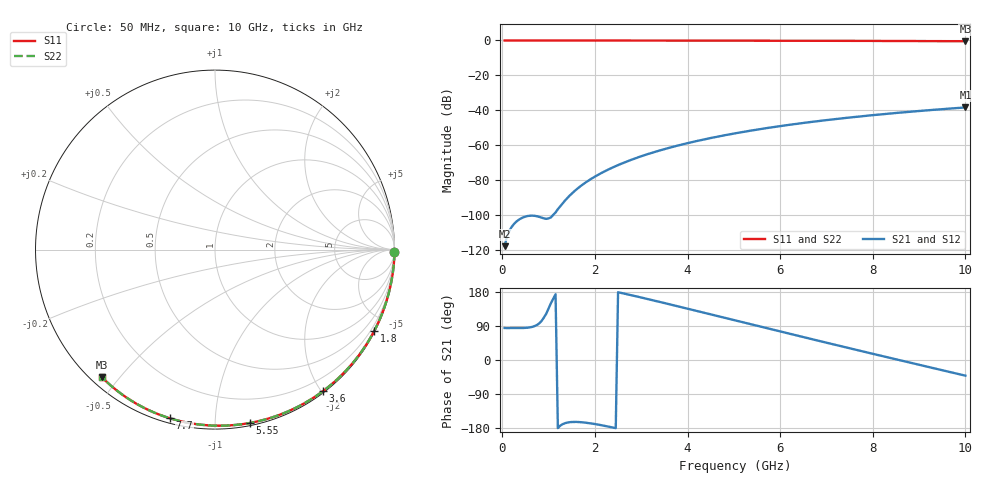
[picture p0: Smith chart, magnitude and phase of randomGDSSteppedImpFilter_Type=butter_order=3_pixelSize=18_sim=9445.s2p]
! freq	dB(S11)	phase(S11)	dB(S12)	phase(S12)
!  dB(S21)	phase(S21)	dB(S22)	phase(S22)
!S-par simulation data
#  GHz  S  DB  R 50
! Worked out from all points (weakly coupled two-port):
!   200 points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, 50 MHz to 10 GHz, reference 50 ohm
!   highest |S21| = -38.40 dB at 10 GHz (marker M1); lowest = -117.9 dB at 50 MHz (marker M2)
!   lowest |S11| = -0.4 dB at 10 GHz (marker M3), VSWR 39.04, Z = 1.54 - j22.6 ohm
!   |S11| at or under -10 dB: nowhere
!   |S22| runs from -0.4 to 0.0 dB; largest |S21 - S12| = 0
!   S11 on the Smith chart (normalised r, x): 50 MHz: open; 1.8 GHz: 0.04, -4.18; 3.6 GHz: 0.02, -2.02; 5.55 GHz: 0.02, -1.22; 7.7 GHz: 0.02, -0.77; 10 GHz: 0.03, -0.45
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0.05  -0.00 -0.8  -117.93 84.5  -117.93 84.5  -0.00 -0.8
0.9  -0.02 -13.6  -102.00 112.2  -102.00 112.2  -0.02 -13.6
1.75  -0.03 -26.2  -82.34 -164.7  -82.34 -164.7  -0.03 -26.2
1.8  -0.03 -26.9  -81.40 -165.4  -81.40 -165.4  -0.03 -26.9
1.85  -0.04 -27.7  -80.52 -166.2  -80.52 -166.2  -0.04 -27.7
1.9  -0.04 -28.4  -79.66 -167.1  -79.66 -167.1  -0.04 -28.4
2.05  -0.04 -30.6  -77.29 -170.1  -77.29 -170.1  -0.04 -30.6
2.25  -0.04 -33.5  -74.49 -174.7  -74.49 -174.7  -0.04 -33.5
2.45  -0.05 -36.4  -72.02 -179.8  -72.02 -179.8  -0.05 -36.4
2.65  -0.05 -39.3  -69.80 174.8  -69.80 174.8  -0.05 -39.3
3  -0.06 -44.2  -66.39 164.9  -66.39 164.9  -0.06 -44.3
3.4  -0.07 -49.9  -63.06 153.3  -63.06 153.3  -0.07 -49.9
3.6  -0.07 -52.7  -61.57 147.4  -61.57 147.4  -0.07 -52.7
4.3  -0.09 -62.2  -57.06 126.4  -57.06 126.4  -0.09 -62.2
5.05  -0.11 -72.2  -53.13 103.9  -53.13 103.9  -0.11 -72.2
5.55  -0.13 -78.7  -50.90 88.8  -50.90 88.8  -0.13 -78.7
6.1  -0.15 -85.6  -48.72 72.4  -48.72 72.4  -0.15 -85.6
6.7  -0.18 -93.0  -46.62 54.5  -46.62 54.5  -0.18 -93.0
7.7  -0.24 -105.0  -43.62 25.1  -43.62 25.1  -0.24 -105.0
8.35  -0.29 -112.6  -41.94 6.2  -41.94 6.2  -0.29 -112.6
9.15  -0.36 -121.8  -40.11 -16.9  -40.11 -16.9  -0.36 -121.8
10  -0.45 -131.4  -38.40 -41.3  -38.40 -41.3  -0.45 -131.4
